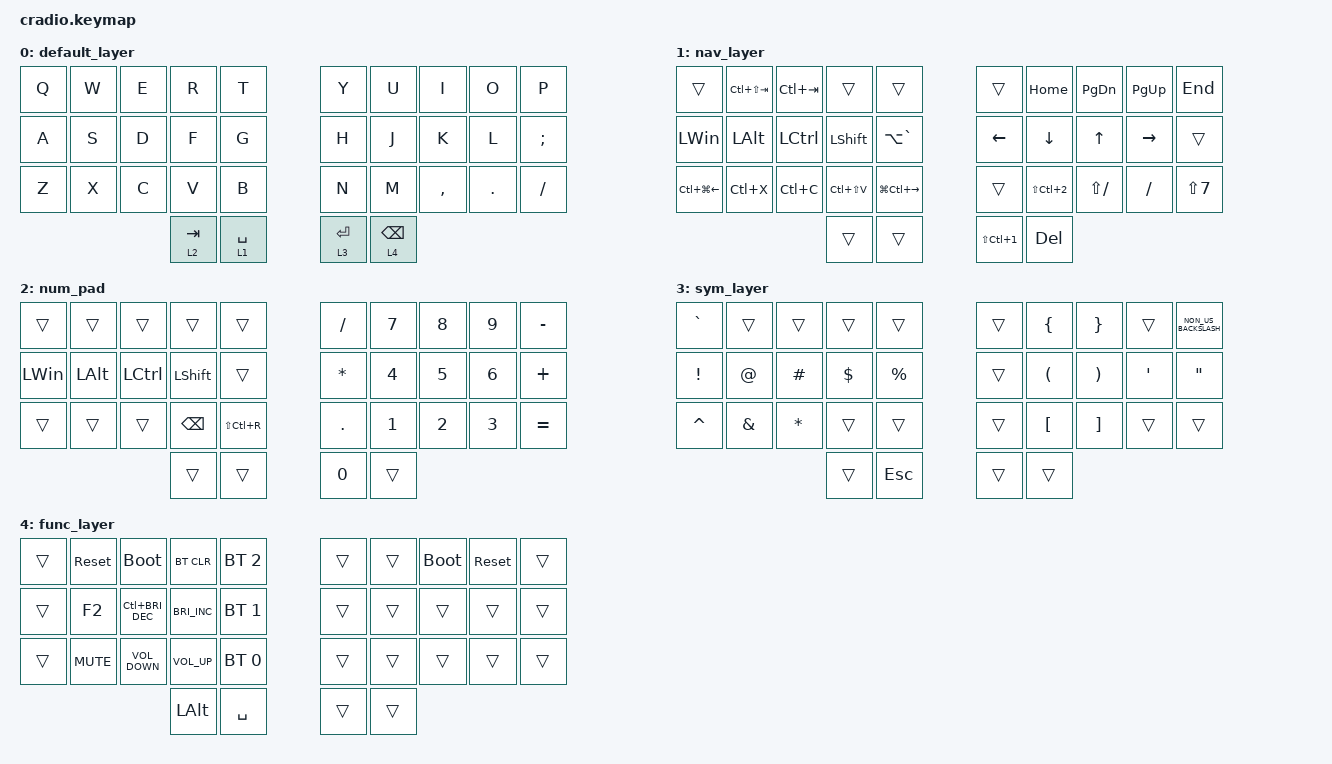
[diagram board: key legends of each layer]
// Copyright (c) 2022 The ZMK Contributors
// SPDX-License-Identifier: MIT

#include <behaviors.dtsi>
#include <dt-bindings/zmk/bt.h>
#include <dt-bindings/zmk/keys.h>

/ {
    conditional_layers { compatible = "zmk,conditional-layers"; };

    combos {
        compatible = "zmk,combos";

        l-shift {
            bindings = <&kp LSHIFT>;
            key-positions = <12 13>;
            slow-release;
            timeout-ms = <35>;
            require-prior-idle-ms = <120>;
        };

        r-shift {
            bindings = <&kp RSHIFT>;
            key-positions = <16 17>;
            timeout-ms = <35>;
            require-prior-idle-ms = <120>;
            slow-release;
        };

        l-ctrl-shift-alt {
            bindings = <&kp LS(LC(LEFT_ALT))>;
            key-positions = <20 23>;
            timeout-ms = <35>;
            slow-release;
            require-prior-idle-ms = <120>;
        };

        l-alt {
            bindings = <&kp LEFT_ALT>;
            key-positions = <2 3>;
            timeout-ms = <35>;
            slow-release;
            require-prior-idle-ms = <120>;
        };

        r-alt {
            bindings = <&kp RIGHT_ALT>;
            key-positions = <6 7>;
            timeout-ms = <35>;
            slow-release;
            require-prior-idle-ms = <120>;
        };

        l-ctrl {
            bindings = <&kp LCTRL>;
            key-positions = <22 23>;
            timeout-ms = <35>;
            slow-release;
            require-prior-idle-ms = <120>;
        };

        r-ctrl {
            bindings = <&kp RCTRL>;
            key-positions = <26 27>;
            timeout-ms = <35>;
            slow-release;
            require-prior-idle-ms = <120>;
        };

        l-win {
            bindings = <&kp LWIN>;
            key-positions = <13 2>;
            timeout-ms = <35>;
            slow-release;
            require-prior-idle-ms = <120>;
        };

        r-win {
            bindings = <&kp RWIN>;
            key-positions = <16 7>;
            timeout-ms = <35>;
            slow-release;
            require-prior-idle-ms = <120>;
        };

        ctrl-alt {
            bindings = <&kp LA(LCTRL)>;
            key-positions = <12 1>;
            timeout-ms = <35>;
            slow-release;
            require-prior-idle-ms = <120>;
        };

        shift-alt {
            bindings = <&kp LA(LSHFT)>;
            key-positions = <17 8>;
            timeout-ms = <35>;
            slow-release;
            require-prior-idle-ms = <120>;
        };

        l-ctrl-shift {
            bindings = <&kp LC(LSHIFT)>;
            key-positions = <12 23>;
            timeout-ms = <35>;
            slow-release;
            require-prior-idle-ms = <120>;
        };

        r-ctrl-shift {
            bindings = <&kp RC(RSHFT)>;
            key-positions = <26 17>;
            timeout-ms = <35>;
            slow-release;
            require-prior-idle-ms = <120>;
        };

        rus-yo {
            bindings = <&kp GRAVE>;
            key-positions = <0 31>;
            timeout-ms = <35>;
            require-prior-idle-ms = <120>;
            slow-release;
        };

        rus-ea {
            bindings = <&kp SQT>;
            key-positions = <32 19>;
            timeout-ms = <35>;
            require-prior-idle-ms = <120>;
            slow-release;
        };

        rus-x {
            bindings = <&kp LEFT_BRACKET>;
            key-positions = <32 8>;
            timeout-ms = <35>;
            require-prior-idle-ms = <120>;
            slow-release;
        };

        rus-solid-sign {
            bindings = <&kp RIGHT_BRACKET>;
            key-positions = <32 9>;
            timeout-ms = <35>;
            require-prior-idle-ms = <120>;
            slow-release;
        };
    };

    keymap {
        compatible = "zmk,keymap";

        default_layer {
            bindings = <
&kp Q  &kp W  &kp E  &kp R      &kp T          &kp Y        &kp U            &kp I      &kp O    &kp P
&kp A  &kp S  &kp D  &kp F      &kp G          &kp H        &kp J            &kp K      &kp L    &kp SEMI
&kp Z  &kp X  &kp C  &kp V      &kp B          &kp N        &kp M            &kp COMMA  &kp DOT  &kp FSLH
                     &lt 2 TAB  &lt 1 SPACE    &lt 3 ENTER  &lt 4 BACKSPACE
            >;
        };

        nav_layer {
            bindings = <
&trans            &kp LC(LS(TAB))  &kp LC(TAB)  &trans          &trans               &trans                &kp HOME              &kp PAGE_DOWN  &kp PG_UP  &kp END
&kp LEFT_WIN      &kp LEFT_ALT     &kp LCTRL    &kp LEFT_SHIFT  &kp LA(GRAVE)        &kp LEFT              &kp DOWN              &kp UP         &kp RIGHT  &trans
&kp LC(LG(LEFT))  &kp LC(X)        &kp LC(C)    &kp LC(LS(V))   &kp LG(LC(RIGHT))    &trans                &kp LS(LC(NUMBER_2))  &kp LS(SLASH)  &kp SLASH  &kp LS(N7)
                                                &trans          &trans               &kp LS(LC(NUMBER_1))  &kp DELETE
            >;
        };

        num_pad {
            bindings = <
&trans        &trans    &trans     &trans         &trans           &kp SLASH     &kp N7  &kp N8  &kp N9  &kp MINUS
&kp LEFT_WIN  &kp LALT  &kp LCTRL  &kp LSHFT      &trans           &kp ASTERISK  &kp N4  &kp N5  &kp N6  &kp PLUS
&trans        &trans    &trans     &kp BACKSPACE  &kp LS(LC(R))    &kp DOT       &kp N1  &kp N2  &kp N3  &kp EQUAL
                                   &trans         &trans           &kp N0        &trans
            >;
        };

        sym_layer {
            bindings = <
&kp GRAVE  &trans         &trans        &trans    &trans        &trans  &kp LEFT_BRACE        &kp RIGHT_BRACE        &trans   &kp NON_US_BACKSLASH
&kp EXCL   &kp AT         &kp HASH      &kp DLLR  &kp PRCNT     &trans  &kp LEFT_PARENTHESIS  &kp RIGHT_PARENTHESIS  &kp SQT  &kp DOUBLE_QUOTES
&kp CARET  &kp AMPERSAND  &kp ASTERISK  &trans    &trans        &trans  &kp LEFT_BRACKET      &kp RIGHT_BRACKET      &trans   &trans
                                        &trans    &kp ESCAPE    &trans  &trans
            >;
        };

        func_layer {
            bindings = <
&trans  &sys_reset  &bootloader               &bt BT_CLR            &bt BT_SEL 2    &trans  &trans  &bootloader  &sys_reset  &trans
&trans  &kp F2      &kp LC(C_BRIGHTNESS_DEC)  &kp C_BRIGHTNESS_INC  &bt BT_SEL 1    &trans  &trans  &trans       &trans      &trans
&trans  &kp C_MUTE  &kp C_VOLUME_DOWN         &kp C_VOLUME_UP       &bt BT_SEL 0    &trans  &trans  &trans       &trans      &trans
                                              &kp LALT              &kp SPACE       &trans  &trans
            >;
        };
    };
};
